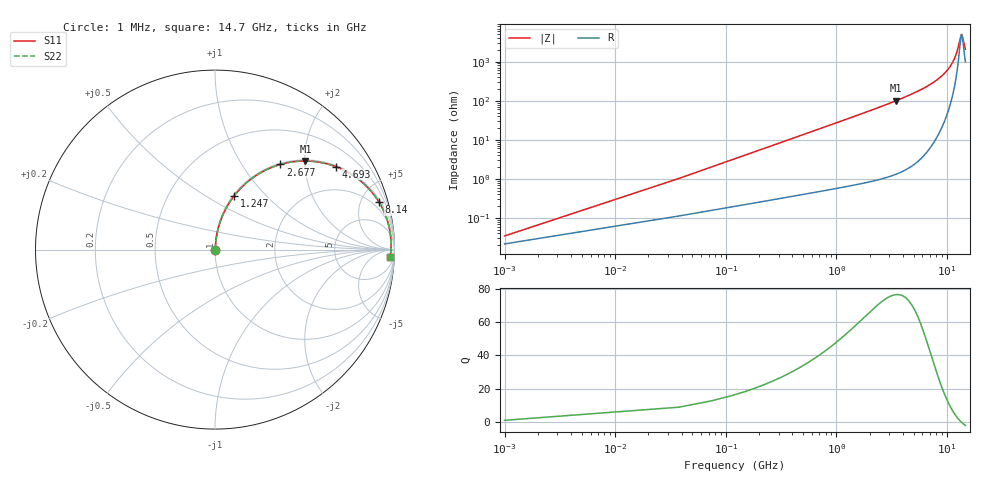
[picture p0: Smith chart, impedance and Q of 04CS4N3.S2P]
! Coilcraft 0402CS-4N3 Chip Inductor
! 22 July 2002
# MHZ S MA R 50
!Freq  MagS11  AngS11  MagS21  AngS21  MagS12  AngS12  MagS22  AngS22
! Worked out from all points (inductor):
!   402 points, 1 MHz to 14.7 GHz, reference 50 ohm
!   read as one part in series: L = 4.3 nH near 74.32 MHz
!   highest Q = 76.4 at 3.484 GHz (marker M1), where L = 4.6 nH
!   self-resonance near 13.6 GHz
!   S11 on the Smith chart (normalised r, x): 1 MHz: 1.00, +0.00; 1.247 GHz: 1.01, +0.68; 2.677 GHz: 1.02, +1.51; 4.693 GHz: 1.04, +2.88; 8.14 GHz: 1.23, +6.86; 14.7 GHz: 21, -36
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1  0.0003458 51.3  0.9998 -0.0  0.9998 -0.0  0.0003458 51.3
110.98  0.02998 84.7  0.9977 -1.7  0.9977 -1.7  0.02998 84.7
184.3  0.04968 84.4  0.9963 -2.8  0.9963 -2.8  0.04968 84.4
257.62  0.06932 83.7  0.9947 -4.0  0.9947 -4.0  0.06932 83.7
404.26  0.1083 81.9  0.9906 -6.2  0.9906 -6.2  0.1083 81.9
624.22  0.166 78.9  0.9818 -9.6  0.9818 -9.6  0.166 78.9
1247.44  0.32 70.3  0.9414 -18.7  0.9414 -18.7  0.32 70.3
1797.34  0.4404 63.0  0.8908 -26.1  0.8908 -26.1  0.4404 63.0
2457.22  0.5623 55.0  0.8191 -34.2  0.8191 -34.2  0.5623 55.0
2677.18  0.5974 52.5  0.7938 -36.7  0.7938 -36.7  0.5974 52.5
3483.7  0.7052 44.4  0.6998 -44.8  0.6998 -44.8  0.7052 44.4
4693.48  0.8161 34.5  0.5666 -54.7  0.5666 -54.7  0.8161 34.5
4913.44  0.8312 33.0  0.5441 -56.2  0.5441 -56.2  0.8312 33.0
7369.66  0.9349 19.3  0.3313 -69.2  0.3313 -69.2  0.9349 19.3
8139.52  0.9513 16.1  0.2773 -71.9  0.2773 -71.9  0.9513 16.1
9825.88  0.9727 10.1  0.1751 -76.0  0.1751 -76.0  0.9727 10.1
11255.62  0.9804 5.8  0.1022 -76.0  0.1022 -76.0  0.9804 5.8
12282.1  0.9819 3.1  0.05683 -69.8  0.05683 -69.8  0.9819 3.1
13308.58  0.9809 0.7  0.02222 -30.5  0.02222 -30.5  0.9809 0.7
13528.54  0.9804 0.2  0.01975 -7.9  0.01975 -7.9  0.9804 0.2
13785.16  0.9798 -0.4  0.02143 19.2  0.02143 19.2  0.9798 -0.4
14700  0.9766 -2.4  0.04695 59.0  0.04695 59.0  0.9766 -2.4
